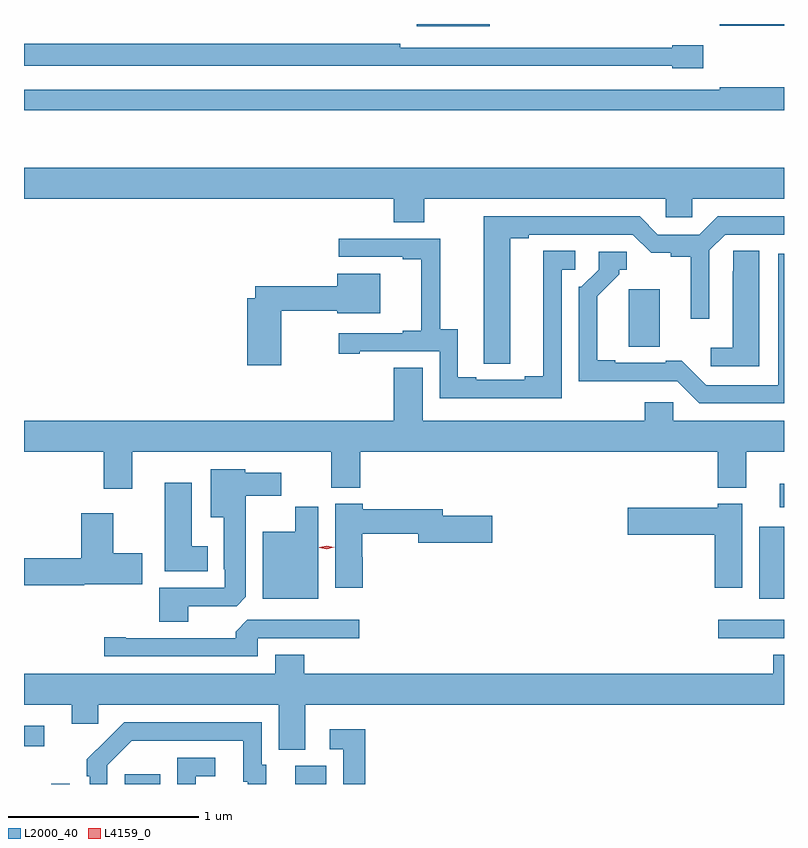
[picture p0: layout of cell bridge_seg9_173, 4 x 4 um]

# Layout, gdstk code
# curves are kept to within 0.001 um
import gdstk
lib = gdstk.Library(unit=1e-6, precision=1e-09)
def R(c, l, rs):  # rectangles x0, y0, x1, y1
    for r in rs: c.add(gdstk.rectangle(r[:2], r[2:], *l))
def P(c, l, *ps):  # polygons
    for p in ps: c.add(gdstk.Polygon(p, *l))
L2000_40 = (2000, 40)
L4159_0 = (4159, 0)

bridge_seg9_173 = lib.new_cell('bridge_seg9_173')
R(bridge_seg9_173, L2000_40, [(179.619,1239.96,179.715,1239.961), (180.005,1239.96,180.193,1240.012), (180.902,1239.96,181.066,1240.056), (179.475,1240.158,179.581,1240.266), (183.129,1240.728,183.475,1240.824), (183.344,1240.934,183.475,1241.314), (183.453,1241.417,183.475,1241.539), (181.542,1243.949,181.926,1243.96), (183.136,1243.95,183.475,1243.96)])
P(bridge_seg9_173, L2000_40, [(183.049,1243.849),(182.886,1243.849),(182.886,1243.836),(181.454,1243.836),(181.454,1243.856),(179.475,1243.856),(179.475,1243.74),(182.886,1243.74),(182.886,1243.727),(183.049,1243.727)],
  [(183.475,1243.627),(183.136,1243.627),(183.136,1243.614),(179.475,1243.614),(179.475,1243.506),(183.475,1243.506)],
  [(181.581,1243.04),(182.853,1243.04),(182.853,1242.942),(182.991,1242.942),(182.991,1243.04),(183.475,1243.04),(183.475,1243.204),(179.475,1243.204),(179.475,1243.04),(181.421,1243.04),(181.421,1242.916),(181.581,1242.916)],
  [(182.035,1242.832),(182.131,1242.832),(182.131,1242.852),(182.679,1242.852),(182.777,1242.755),(182.88,1242.755),(182.88,1242.736),(182.984,1242.736),(182.984,1242.408),(183.081,1242.408),(183.081,1242.768),(183.165,1242.852),(183.475,1242.852),(183.475,1242.948),(183.125,1242.948),(183.029,1242.852),(182.811,1242.852),(182.715,1242.948),(181.895,1242.948),(181.896,1242.172),(182.035,1242.172)],
  [(182.304,1242.666),(182.377,1242.666),(182.377,1242.767),(182.207,1242.767),(182.207,1242.107),(182.111,1242.107),(182.111,1242.087),(181.855,1242.087),(181.855,1242.102),(181.759,1242.102),(181.759,1242.353),(181.665,1242.353),(181.665,1242.831),(181.131,1242.831),(181.131,1242.735),(181.469,1242.735),(181.469,1242.723),(181.565,1242.723),(181.565,1242.346),(181.469,1242.346),(181.469,1242.333),(181.131,1242.333),(181.131,1242.225),(181.243,1242.225),(181.243,1242.237),(181.662,1242.237),(181.662,1241.991),(182.304,1241.991)],
  [(183.346,1242.767),(183.207,1242.767),(183.207,1242.659),(183.206,1242.659),(183.206,1242.256),(183.09,1242.256),(183.09,1242.159),(183.346,1242.159)],
  [(183.475,1242.75),(183.446,1242.75),(183.446,1242.06),(183.066,1242.06),(182.938,1242.188),(182.852,1242.188),(182.852,1242.177),(182.587,1242.177),(182.587,1242.19),(182.491,1242.19),(182.491,1242.526),(182.608,1242.643),(182.608,1242.666),(182.647,1242.666),(182.647,1242.762),(182.499,1242.762),(182.499,1242.666),(182.409,1242.576),(182.394,1242.576),(182.394,1242.08),(182.913,1242.081),(183.03,1241.964),(183.475,1241.964)],
  [(180.828,1242.451),(181.124,1242.451),(181.124,1242.437),(181.351,1242.437),(181.351,1242.646),(181.124,1242.646),(181.124,1242.58),(180.692,1242.58),(180.692,1242.517),(180.65,1242.517),(180.65,1242.165),(180.828,1242.165)],
  [(182.82,1242.42),(182.821,1242.42),(182.821,1242.565),(182.657,1242.565),(182.657,1242.262),(182.82,1242.262)],
  [(180.046,1241.708),(181.091,1241.708),(181.091,1241.519),(181.244,1241.519),(181.244,1241.708),(183.125,1241.708),(183.125,1241.519),(183.277,1241.519),(183.277,1241.708),(183.475,1241.708),(183.475,1241.872),(182.892,1241.872),(182.892,1241.97),(182.741,1241.97),(182.741,1241.872),(181.573,1241.872),(181.573,1242.152),(181.421,1242.152),(181.421,1241.872),(179.475,1241.872),(179.475,1241.708),(179.894,1241.708),(179.894,1241.514),(180.046,1241.514)],
  [(180.34,1240.896),(180.594,1240.896),(180.643,1240.945),(180.643,1241.477),(180.829,1241.477),(180.829,1241.599),(180.639,1241.599),(180.639,1241.617),(180.458,1241.617),(180.458,1241.363),(180.527,1241.363),(180.527,1241.089),(180.531,1241.089),(180.531,1240.992),(180.188,1240.992),(180.188,1240.813),(180.34,1240.813)],
  [(180.442,1241.212),(180.358,1241.212),(180.358,1241.545),(180.215,1241.545),(180.215,1241.081),(180.442,1241.081)],
  [(181.259,1241.153),(181.254,1241.153),(181.254,1241.278),(181.55,1241.278),(181.55,1241.231),(181.939,1241.231),(181.939,1241.373),(181.678,1241.373),(181.678,1241.407),(181.259,1241.407),(181.259,1241.434),(181.112,1241.434),(181.112,1240.992),(181.259,1240.992)],
  [(183.256,1241.434),(183.126,1241.434),(183.126,1241.415),(182.652,1241.415),(182.652,1241.273),(183.11,1241.273),(183.11,1240.992),(183.256,1240.992)],
  [(181.024,1241.419),(180.902,1241.419),(180.902,1241.287),(180.731,1241.287),(180.731,1240.934),(181.024,1240.934)],
  [(179.793,1241.012),(180.097,1241.012),(180.097,1241.175),(179.944,1241.175),(179.944,1241.386),(179.777,1241.386),(179.777,1241.147),(179.475,1241.147),(179.475,1241.005),(179.793,1241.005)],
  [(180.705,1240.728),(181.24,1240.728),(181.24,1240.824),(180.651,1240.824),(180.59,1240.762),(180.59,1240.728),(180.01,1240.728),(180.01,1240.733),(179.898,1240.733),(179.898,1240.632),(180.705,1240.632)],
  [(180.955,1240.376),(183.475,1240.376),(183.475,1240.639),(183.419,1240.639),(183.419,1240.54),(180.95,1240.54),(180.95,1240.639),(180.797,1240.639),(180.797,1240.54),(179.475,1240.54),(179.475,1240.376),(179.726,1240.376),(179.726,1240.278),(179.865,1240.278),(179.865,1240.376),(180.815,1240.376),(180.815,1240.141),(180.955,1240.141)],
  [(179.913,1240.059),(180.042,1240.188),(180.629,1240.188),(180.629,1239.972),(180.653,1239.972),(180.653,1239.96),(180.751,1239.96),(180.751,1240.062),(180.726,1240.062),(180.726,1240.284),(180.002,1240.284),(179.805,1240.089),(179.805,1240.001),(179.82,1240.001),(179.82,1239.96),(179.913,1239.96)],
  [(181.271,1240.249),(181.083,1240.249),(181.083,1240.143),(181.155,1240.143),(181.155,1239.96),(181.271,1239.96)],
  [(180.378,1240.002),(180.481,1240.002),(180.481,1240.098),(180.282,1240.098),(180.282,1239.96),(180.378,1239.96)])
P(bridge_seg9_173, L4159_0, [(181.069,1241.196),(181.03,1241.204),(181.03,1241.205),(181.03,1241.205),(181.068,1241.215),(181.107,1241.206),(181.107,1241.206),(181.107,1241.206)])

lib.write_gds('bridge_seg9_173.gds')
